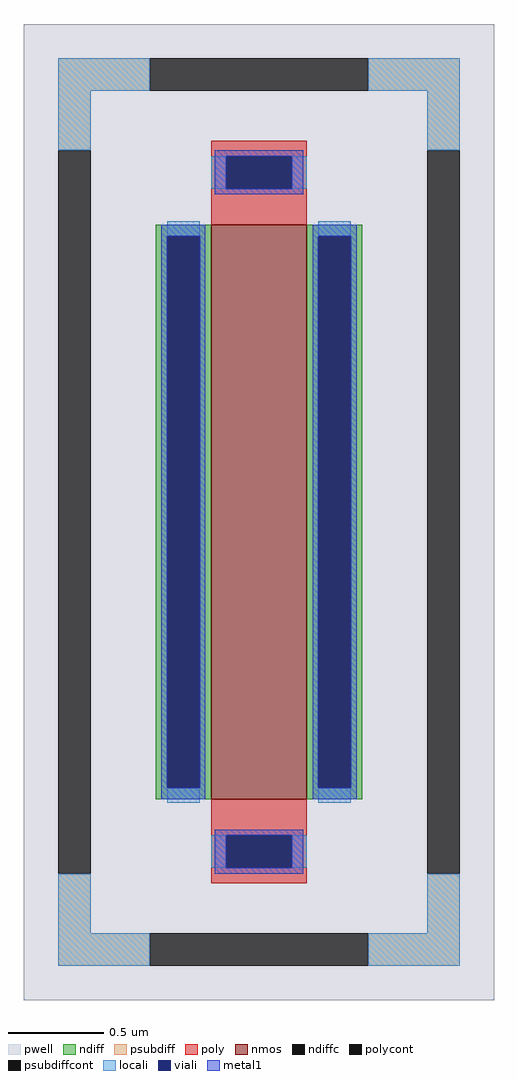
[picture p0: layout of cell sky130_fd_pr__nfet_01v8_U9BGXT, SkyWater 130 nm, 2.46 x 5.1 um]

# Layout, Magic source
magic
tech sky130A
<< pwell >>
rect -123 -255 123 255
<< nmos >>
rect -25 -150 25 150
<< ndiff >>
rect -54 144 -25 150
rect -54 -144 -48 144
rect -31 -144 -25 144
rect -54 -150 -25 -144
rect 25 144 54 150
rect 25 -144 31 144
rect 48 -144 54 144
rect 25 -150 54 -144
<< ndiffc >>
rect -48 -144 -31 144
rect 31 -144 48 144
<< psubdiff >>
rect -105 220 -57 237
rect 57 220 105 237
rect -105 189 -88 220
rect 88 189 105 220
rect -105 -220 -88 -189
rect 88 -220 105 -189
rect -105 -237 -57 -220
rect 57 -237 105 -220
<< psubdiffcont >>
rect -57 220 57 237
rect -105 -189 -88 189
rect 88 -189 105 189
rect -57 -237 57 -220
<< poly >>
rect -25 186 25 194
rect -25 169 -17 186
rect 17 169 25 186
rect -25 150 25 169
rect -25 -169 25 -150
rect -25 -186 -17 -169
rect 17 -186 25 -169
rect -25 -194 25 -186
<< polycont >>
rect -17 169 17 186
rect -17 -186 17 -169
<< locali >>
rect -105 220 -57 237
rect 57 220 105 237
rect -105 189 -88 220
rect 88 189 105 220
rect -25 169 -17 186
rect 17 169 25 186
rect -48 144 -31 152
rect -48 -152 -31 -144
rect 31 144 48 152
rect 31 -152 48 -144
rect -25 -186 -17 -169
rect 17 -186 25 -169
rect -105 -220 -88 -189
rect 88 -220 105 -189
rect -105 -237 -57 -220
rect 57 -237 105 -220
<< viali >>
rect -17 169 17 186
rect -48 -144 -31 144
rect 31 -144 48 144
rect -17 -186 17 -169
<< metal1 >>
rect -23 186 23 189
rect -23 169 -17 186
rect 17 169 23 186
rect -23 166 23 169
rect -51 144 -28 150
rect -51 -144 -48 144
rect -31 -144 -28 144
rect -51 -150 -28 -144
rect 28 144 51 150
rect 28 -144 31 144
rect 48 -144 51 144
rect 28 -150 51 -144
rect -23 -169 23 -166
rect -23 -186 -17 -169
rect 17 -186 23 -169
rect -23 -189 23 -186
<< properties >>
string FIXED_BBOX -96 -228 96 228
string gencell sky130_fd_pr__nfet_01v8
string library sky130
string parameters w 3 l 0.5 m 1 nf 1 diffcov 100 polycov 100 guard 1 glc 1 grc 1 gtc 1 gbc 1 tbcov 100 rlcov 100 topc 1 botc 1 poverlap 0 doverlap 1 lmin 0.15 wmin 0.42 compatible {sky130_fd_pr__nfet_01v8 sky130_fd_pr__nfet_01v8_lvt  sky130_fd_bs_flash__special_sonosfet_star  sky130_fd_pr__nfet_g5v0d10v5 sky130_fd_pr__nfet_05v0_nvt  sky130_fd_pr__nfet_03v3_nvt} full_metal 1 viasrc 100 viadrn 100 viagate 100 viagb 0 viagr 0 viagl 0 viagt 0
<< end >>
